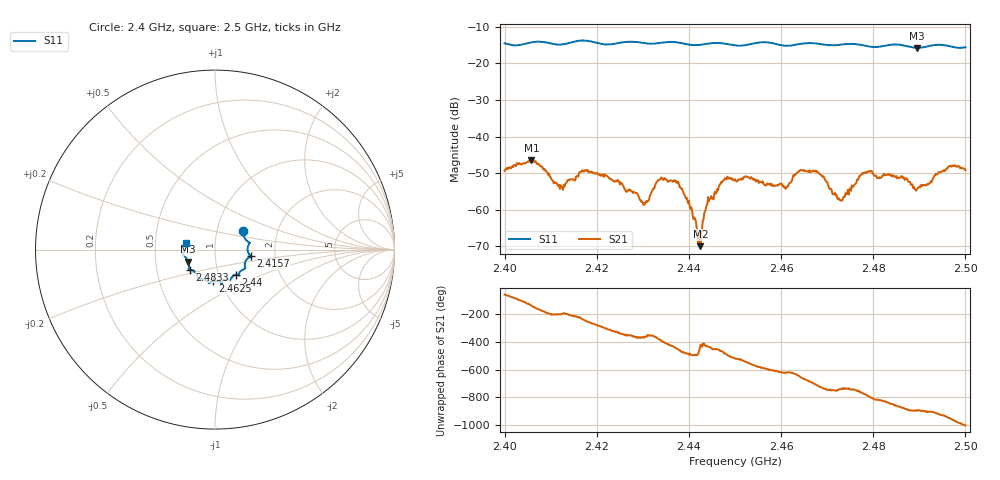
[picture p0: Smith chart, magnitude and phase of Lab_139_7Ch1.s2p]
# Hz S RI R 50
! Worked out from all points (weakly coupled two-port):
!   601 points, 2.4 GHz to 2.5 GHz, reference 50 ohm
!   highest |S21| = -46.51 dB at 2.4058 GHz (marker M1); lowest = -69.9 dB at 2.4425 GHz (marker M2)
!   lowest |S11| = -15.7 dB at 2.4895 GHz (marker M3), VSWR 1.39, Z = 36.7 - j5.1 ohm
!   |S11| at or under -10 dB: start of sweep to end of sweep
!   S12 and S22 are empty: the file has one direction only
!   S11 on the Smith chart (normalised r, x): 2.4 GHz: 1.33, +0.29; 2.4157 GHz: 1.49, -0.12; 2.44 GHz: 1.21, -0.35; 2.4625 GHz: 0.92, -0.34; 2.4833 GHz: 0.74, -0.17; 2.5 GHz: 0.72, +0.06
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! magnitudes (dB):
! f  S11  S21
! 2.4 GHz  -14.5  -49.4
! 2.4058 GHz  -14.2  -46.5
! 2.4122 GHz  -14.8  -53.3
! 2.4157 GHz  -13.9  -50.8
! 2.4167 GHz  -13.7  -49.6
! 2.425 GHz  -14.3  -53.1
! 2.4302 GHz  -14.4  -58.7
! 2.4333 GHz  -14.4  -51.8
! 2.4373 GHz  -14.2  -52.2
! 2.44 GHz  -14.8  -57.5
! 2.4425 GHz  -14.9  -69.9
! 2.4443 GHz  -14.5  -57.7
! 2.4478 GHz  -14.6  -51.3
! 2.45 GHz  -15.0  -51.6
! 2.4625 GHz  -15.0  -51.4
! 2.4667 GHz  -14.4  -49.5
! 2.4728 GHz  -14.9  -57.5
! 2.478 GHz  -15.1  -49.8
! 2.4833 GHz  -15.0  -50.2
! 2.4895 GHz  -15.7  -54.4
! 2.4968 GHz  -15.3  -48.0
! 2.5 GHz  -15.6  -49.2
